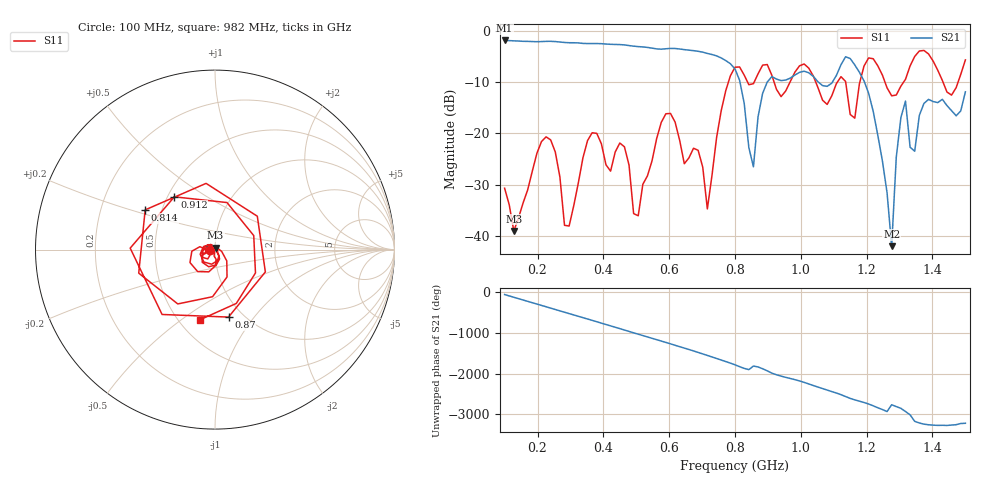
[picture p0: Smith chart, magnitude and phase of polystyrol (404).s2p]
! NanoVNA-App
! Date: 2025-09-25 15:33:02
! Start: 100MHz Stop: 1,5GHz Points: 101
! S-Parameter data: F S11 S21 S12 S22
# Hz S RI R 50
!  Frequency  S11_Real  S11_Imag  S21_Real  S21_Imag  S12_Real  S12_Imag  S22_Real  S22_Imag
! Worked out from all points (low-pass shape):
!   101 points, 100 MHz to 1.5 GHz, reference 50 ohm
!   highest |S21| = -1.80 dB at 100 MHz (marker M1); lowest = -42.0 dB at 1.276 GHz (marker M2)
!   |S21| within 3 dB of the highest: start of sweep to 743.2 MHz
!   lowest |S11| = -39.1 dB at 128 MHz (marker M3), VSWR 1.02, Z = 50.3 + j1.06 ohm
!   |S11| at or under -10 dB: start of sweep to 779.8 MHz; 1.046 GHz to 1.111 GHz (64.87 MHz wide, 6.02 % of centre); 1.256 GHz to 1.312 GHz (55.78 MHz wide, 4.34 % of centre) (the widest 3 of 7)
!   S12 and S22 are empty: the file has one direction only
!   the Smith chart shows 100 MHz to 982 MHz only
!   S11 on the Smith chart (normalised r, x): 100 MHz: 0.94, -0.01; 814 MHz: 0.40, +0.22; 870 MHz: 0.86, -0.75; 912 MHz: 0.54, +0.37; 982 MHz: 0.64, -0.59
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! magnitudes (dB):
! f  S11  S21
! 100 MHz  -30.7  -1.8
! 128 MHz  -39.1  -1.9
! 212 MHz  -21.6  -2.0
! 282 MHz  -38.0  -2.2
! 338 MHz  -24.8  -2.4
! 464 MHz  -22.6  -2.7
! 506 MHz  -36.1  -3.0
! 576 MHz  -17.8  -3.5
! 716 MHz  -34.8  -4.3
! 800 MHz  -7.0  -7.4
! 814 MHz  -7.0  -9.6
! 856 MHz  -10.3  -26.5
! 870 MHz  -8.3  -16.8
! 912 MHz  -8.6  -8.9
! 982 MHz  -8.0  -8.6
! 1.038 GHz  -8.8  -8.8
! 1.164 GHz  -17.0  -6.6
! 1.192 GHz  -6.8  -9.7
! 1.276 GHz  -12.6  -42.0
! 1.318 GHz  -9.4  -13.7
! 1.346 GHz  -4.9  -23.5
! 1.5 GHz  -5.6  -11.8
